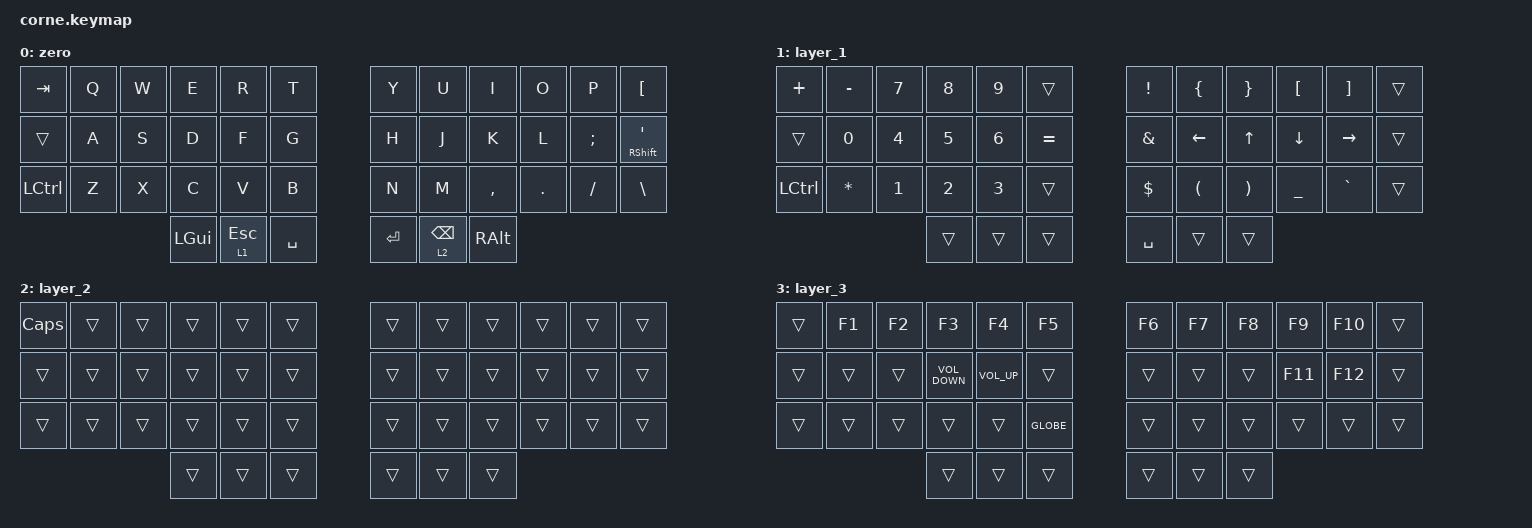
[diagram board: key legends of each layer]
/*
 * Copyright (c) 2020 The ZMK Contributors
 *
 * SPDX-License-Identifier: MIT
 */

#include <behaviors.dtsi>
#include <dt-bindings/zmk/keys.h>

&lt {
    tapping-term-ms = <150>;
};
/ {
    keymap {
        compatible = "zmk,keymap";

        zero {
            bindings = <
&kp TAB           &kp Q  &kp W  &kp E     &kp R      &kp T        &kp Y    &kp U            &kp I      &kp O    &kp P     &kp LEFT_BRACKET
&trans            &kp A  &kp S  &kp D     &kp F      &kp G        &kp H    &kp J            &kp K      &kp L    &kp SEMI  &mt RIGHT_SHIFT SQT
&kp LEFT_CONTROL  &kp Z  &kp X  &kp C     &kp V      &kp B        &kp N    &kp M            &kp COMMA  &kp DOT  &kp FSLH  &kp BACKSLASH
                                &kp LGUI  &lt 1 ESC  &kp SPACE    &kp RET  &lt 2 BACKSPACE  &kp RALT
            >;
        };

        layer_1 {
            bindings = <
&kp PLUS          &kp MINUS     &kp N7  &kp N8  &kp N9  &trans       &kp EXCLAMATION  &kp LEFT_BRACE        &kp RIGHT_BRACE        &kp LEFT_BRACKET  &kp RIGHT_BRACKET  &trans
&trans            &kp N0        &kp N4  &kp N5  &kp N6  &kp EQUAL    &kp AMPERSAND    &kp LEFT              &kp UP_ARROW           &kp DOWN_ARROW    &kp RIGHT_ARROW    &trans
&kp LEFT_CONTROL  &kp ASTERISK  &kp N1  &kp N2  &kp N3  &trans       &kp DOLLAR       &kp LEFT_PARENTHESIS  &kp RIGHT_PARENTHESIS  &kp UNDERSCORE    &kp GRAVE          &trans
                                        &trans  &trans  &trans       &kp SPACE        &trans                &trans
            >;
        };

        layer_2 {
            bindings = <
&kp CAPS  &trans  &trans  &trans  &trans  &trans    &trans  &trans  &trans  &trans  &trans  &trans
&trans    &trans  &trans  &trans  &trans  &trans    &trans  &trans  &trans  &trans  &trans  &trans
&trans    &trans  &trans  &trans  &trans  &trans    &trans  &trans  &trans  &trans  &trans  &trans
                          &trans  &trans  &trans    &trans  &trans  &trans
            >;
        };

        layer_3 {
            bindings = <
&trans  &kp F1  &kp F2  &kp F3             &kp F4           &kp F5       &kp F6  &kp F7  &kp F8  &kp F9   &kp F10  &trans
&trans  &trans  &trans  &kp C_VOLUME_DOWN  &kp C_VOLUME_UP  &trans       &trans  &trans  &trans  &kp F11  &kp F12  &trans
&trans  &trans  &trans  &trans             &trans           &kp GLOBE    &trans  &trans  &trans  &trans   &trans   &trans
                        &trans             &trans           &trans       &trans  &trans  &trans
            >;
        };
    };

    conditional_layers {
        compatible = "zmk,conditional-layers";

        one_and_two {
            if-layers = <1 2>;
            then-layer = <3>;
        };
    };
};
